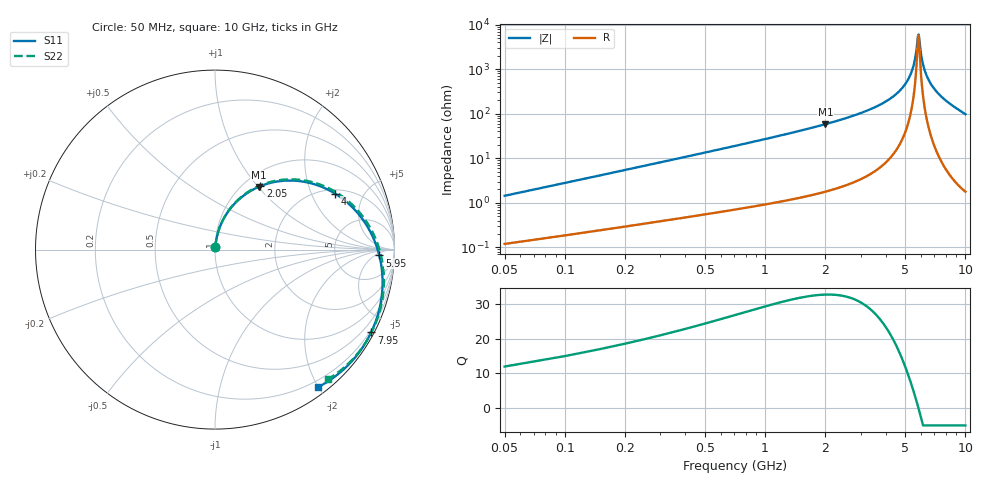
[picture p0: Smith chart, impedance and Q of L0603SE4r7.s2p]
!	AVX	Thin	Film	Operation	Date:	2004
!	Description:	"Series,"	Thin	"Film,"	"LGA,"	RF	Inductors
!	Part	Number:	L06034r7nH
!	50	MHz	-	10	GHz
!	Serial	Measurements
#	mhz	S	db	R	50
!	S11	S11	S21	S21	S12	S12	S22	S22
!	dB	Phase	dB	Phase	dB	Phase	dB	Phase
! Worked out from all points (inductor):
!   200 points, 50 MHz to 10 GHz, reference 50 ohm
!   read as 1/Y11, port 2 shorted: L = 4.38 nH near 100 MHz
!   highest Q = 32.8 at 2 GHz (marker M1), where L = 4.64 nH
!   self-resonance near 5.8 GHz
!   S11 on the Smith chart (normalised r, x): 50 MHz: 1.00, +0.03; 2.05 GHz: 1.19, +1.04; 4 GHz: 2.19, +3.01; 5.95 GHz: 20, -8; 7.95 GHz: 0.13, -4.02; 10 GHz: 0.11, -1.99
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50  -37.89 83.7  -0.01 -0.9  -0.01 -0.9  -37.89 83.7
100  -32.17 83.9  -0.02 -1.8  -0.02 -1.8  -32.17 83.9
200  -26.40 83.0  -0.04 -3.5  -0.04 -3.5  -26.40 83.0
500  -18.73 78.7  -0.11 -8.5  -0.11 -8.5  -18.73 78.9
1000  -12.97 70.9  -0.30 -16.7  -0.30 -16.7  -12.97 71.2
1750  -8.46 59.1  -0.79 -28.7  -0.79 -28.7  -8.46 59.6
2000  -7.42 55.2  -1.00 -32.7  -1.00 -32.7  -7.42 55.8
2050  -7.23 54.4  -1.04 -33.4  -1.04 -33.4  -7.24 55.0
3400  -3.64 33.8  -2.69 -53.8  -2.69 -53.8  -3.64 35.0
4000  -2.64 25.1  -3.71 -62.5  -3.71 -62.5  -2.64 26.4
5050  -1.42 10.2  -6.03 -76.9  -6.03 -76.9  -1.43 11.9
5950  -0.76 -2.0  -8.82 -88.5  -8.82 -88.5  -0.76 0.0
6700  -0.41 -11.9  -12.15 -97.3  -12.15 -97.3  -0.41 -9.5
7450  -0.20 -21.6  -17.57 -104.2  -17.57 -104.2  -0.20 -18.8
7950  -0.13 -27.9  -24.82 -102.9  -24.82 -102.9  -0.13 -24.9
8100  -0.12 -29.8  -28.90 -96.4  -28.90 -96.4  -0.12 -26.7
8300  -0.12 -32.3  -37.27 -45.6  -37.27 -45.6  -0.12 -29.1
8350  -0.12 -32.9  -37.22 -14.8  -37.22 -14.8  -0.12 -29.7
8600  -0.12 -36.1  -27.36 37.9  -27.36 37.9  -0.12 -32.7
8900  -0.15 -39.8  -21.35 43.3  -21.35 43.3  -0.14 -36.2
9350  -0.21 -45.3  -16.48 41.7  -16.48 41.7  -0.21 -41.4
10000  -0.38 -53.2  -12.38 35.9  -12.38 35.9  -0.37 -48.9
